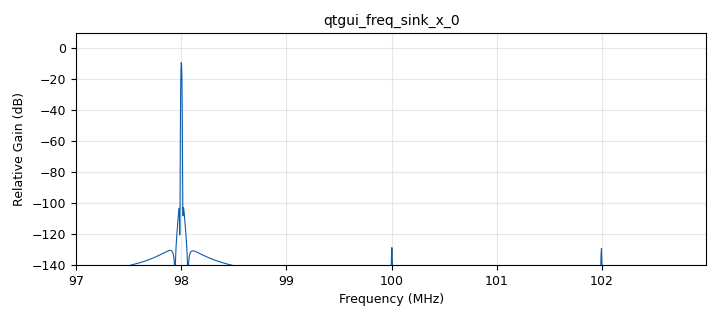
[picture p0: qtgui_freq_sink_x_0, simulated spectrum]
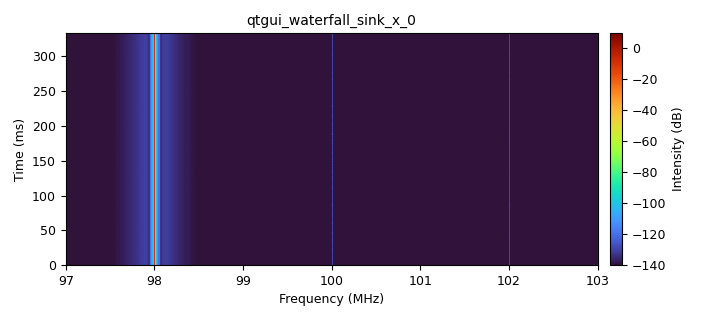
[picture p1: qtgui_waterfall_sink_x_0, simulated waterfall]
options:
  parameters:
    author: simon
    generate_options: qt_gui
    id: untitled
    output_language: python
    title: Not titled yet
  states: {}

blocks:
- name: LO_freq
  id: variable
  parameters:
    value: 100e6
  states: {}
- name: freq_dev
  id: variable
  parameters:
    value: 200e6
  states: {}
- name: frequency
  id: variable_qtgui_label
  parameters:
    label: frequency
    type: real
    value: LO_freq
  states: {}
- name: samp_rate
  id: variable
  parameters:
    value: 6e6
  states: {}
- name: analog_sig_source_x_0_0_0
  id: analog_sig_source_x
  parameters:
    amp: '1'
    freq: LO_freq
    offset: '0'
    phase: '0'
    samp_rate: samp_rate
    type: complex
    waveform: analog.GR_SIN_WAVE
  states: {}
- name: qtgui_freq_sink_x_0
  id: qtgui_freq_sink_x
  parameters:
    bw: samp_rate
    ctrlpanel: 'True'
    fc: LO_freq
    fftsize: '2048'
    grid: 'True'
    type: complex
  states: {}
- name: qtgui_waterfall_sink_x_0
  id: qtgui_waterfall_sink_x
  parameters:
    bw: samp_rate
    fc: LO_freq
    fftsize: '2048'
    grid: 'True'
    type: complex
  states: {}

connections:
- [analog_sig_source_x_0_0_0, '0', qtgui_freq_sink_x_0, '0']
- [analog_sig_source_x_0_0_0, '0', qtgui_waterfall_sink_x_0, '0']

metadata:
  file_format: 1
  grc_version: 3.10.11.0
